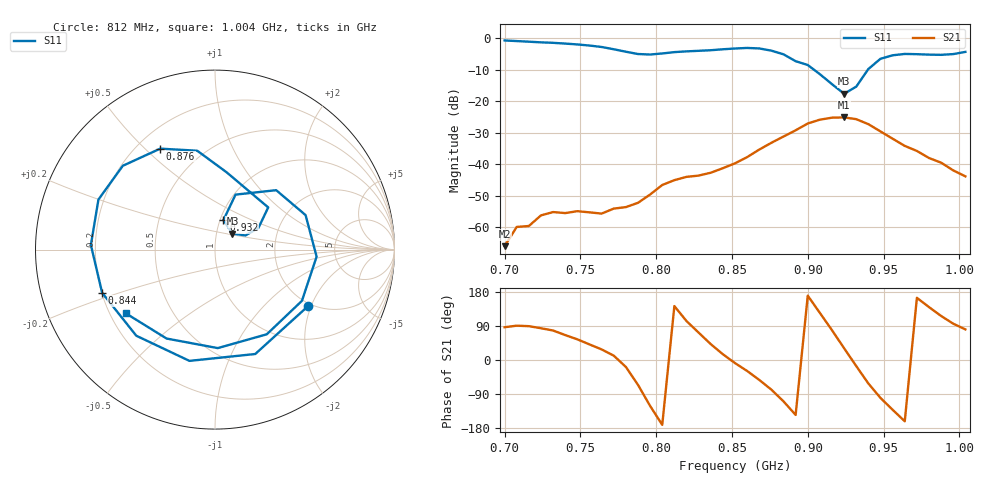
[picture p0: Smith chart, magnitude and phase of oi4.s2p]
# Hz S RI R 50
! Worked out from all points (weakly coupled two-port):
!   39 points, 700 MHz to 1.004 GHz, reference 50 ohm
!   highest |S21| = -25.12 dB at 924 MHz (marker M1); lowest = -66.1 dB at 700 MHz (marker M2)
!   lowest |S11| = -17.6 dB at 924 MHz (marker M3), VSWR 1.30, Z = 59.7 + j10.9 ohm
!   |S11| at or under -10 dB: 904.3 MHz to 939.6 MHz (35.32 MHz wide, 3.83 % of centre)
!   S12 and S22 are empty: the file has one direction only
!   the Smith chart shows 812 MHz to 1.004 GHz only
!   S11 on the Smith chart (normalised r, x): 812 MHz: 1.91, -1.90; 844 MHz: 0.20, -0.18; 876 MHz: 0.29, +0.56; 932 MHz: 1.04, +0.35; 1.004 GHz: 0.26, -0.30
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7e8  0.7661 0.5268  3.06e-05 0.000495  0 0  0 0
7.24e8  0.8284 -0.2576  0.000165 0.00152  0 0  0 0
7.4e8  0.4441 -0.7002  0.000684 0.00152  0 0  0 0
7.56e8  -0.1951 -0.7464  0.00129 0.00112  0 0  0 0
7.72e8  -0.6475 -0.1853  0.00192 0.00039  0 0  0 0
7.8e8  -0.5687 0.2346  0.00197 -0.000651  0 0  0 0
7.88e8  -0.2098 0.5253  0.001 -0.00221  0 0  0 0
7.96e8  0.2676 0.4865  -0.00171 -0.00281  0 0  0 0
8.04e8  0.5637 0.1248  -0.00461 -0.000718  0 0  0 0
8.12e8  0.5187 -0.3146  -0.0044 0.0034  0 0  0 0
8.28e8  -0.1423 -0.62  0.002 0.00627  0 0  0 0
8.44e8  -0.6287 -0.2409  0.00832 0.00226  0 0  0 0
8.52e8  -0.6915 0.026  0.0102 -0.00147  0 0  0 0
8.76e8  -0.305 0.5626  0.00445 -0.0214  0 0  0 0
9e8  0.2964 0.235  -0.0437 0.00787  0 0  0 0
9.08e8  0.2419 0.1205  -0.0287 0.0422  0 0  0 0
9.24e8  0.0969 0.0894  0.0476 0.0285  0 0  0 0
9.32e8  0.0471 0.1647  0.05 -0.0144  0 0  0 0
9.48e8  0.3409 0.331  -0.0058 -0.0326  0 0  0 0
9.56e8  0.5047 0.1922  -0.0168 -0.0191  0 0  0 0
9.8e8  0.2886 -0.4718  -0.00952 0.00813  0 0  0 0
1.004e9  -0.4983 -0.3541  0.00103 0.00632  0 0  0 0
